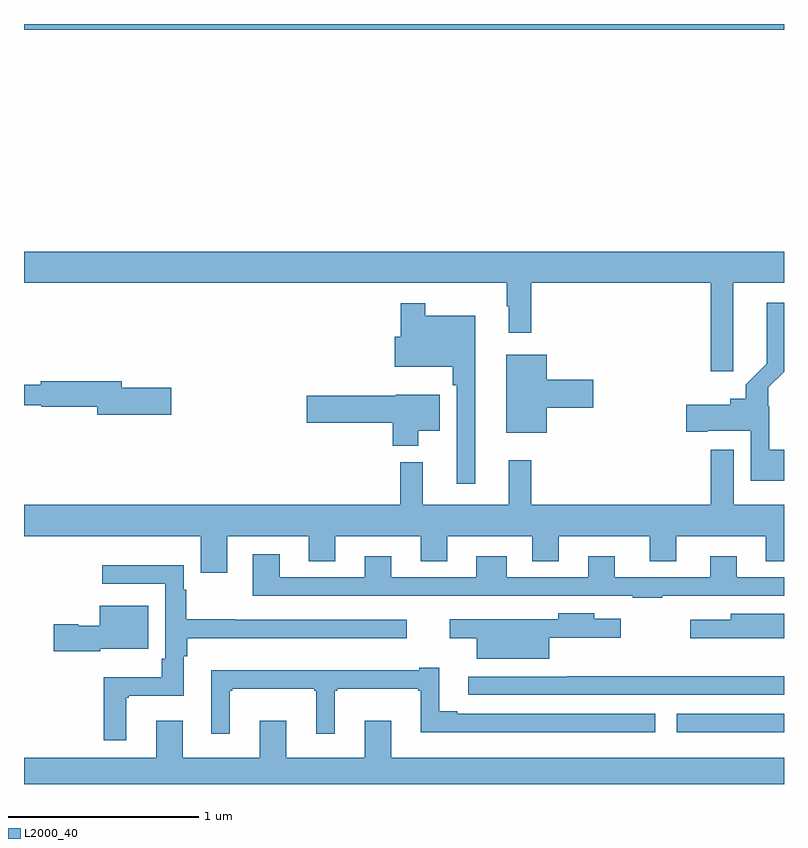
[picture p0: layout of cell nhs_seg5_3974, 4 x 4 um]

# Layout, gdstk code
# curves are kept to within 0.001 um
import gdstk
lib = gdstk.Library(unit=1e-6, precision=1e-09)
def R(c, l, rs):  # rectangles x0, y0, x1, y1
    for r in rs: c.add(gdstk.rectangle(r[:2], r[2:], *l))
def P(c, l, *ps):  # polygons
    for p in ps: c.add(gdstk.Polygon(p, *l))
L2000_40 = (2000, 40)

nhs_seg5_3974 = lib.new_cell('nhs_seg5_3974')
R(nhs_seg5_3974, L2000_40, [(348.435,845.072,349,845.169), (345,848.768,349,848.799)])
P(nhs_seg5_3974, L2000_40, [(348.733,847.436),(349,847.436),(349,847.6),(345,847.6),(345,847.436),(347.541,847.436),(347.541,847.313),(347.552,847.313),(347.552,847.173),(347.669,847.173),(347.669,847.436),(348.615,847.436),(348.615,846.972),(348.733,846.972)],
  [(349,846.559),(348.922,846.559),(348.922,846.788),(348.918,846.788),(348.918,846.888),(349,846.97),(349,847.333),(348.908,847.333),(348.909,847.011),(348.798,846.9),(348.798,846.826),(348.716,846.826),(348.716,846.794),(348.486,846.794),(348.486,846.652),(348.598,846.652),(348.598,846.659),(348.825,846.659),(348.825,846.395),(349,846.395)],
  [(347.374,847.264),(347.113,847.264),(347.113,847.33),(346.984,847.33),(346.984,847.153),(346.95,847.153),(346.95,846.995),(347.257,846.995),(347.257,846.899),(347.277,846.899),(347.277,846.378),(347.374,846.378)],
  [(347.752,846.779),(347.995,846.779),(347.995,846.926),(347.752,846.926),(347.752,847.057),(347.537,847.057),(347.537,846.647),(347.752,846.647)],
  [(345.775,846.884),(345.514,846.884),(345.514,846.92),(345.088,846.92),(345.088,846.901),(345,846.901),(345,846.792),(345.09,846.792),(345.09,846.784),(345.386,846.784),(345.386,846.742),(345.775,846.742)],
  [(347.074,846.659),(347.188,846.659),(347.188,846.847),(346.956,846.847),(346.956,846.842),(346.488,846.842),(346.488,846.7),(346.94,846.7),(346.94,846.578),(347.074,846.578)],
  [(346.069,846.104),(346.499,846.104),(346.499,845.971),(346.639,845.971),(346.639,846.104),(347.087,846.104),(347.087,845.971),(347.227,845.971),(347.227,846.104),(347.675,846.104),(347.675,845.971),(347.815,845.971),(347.815,846.104),(348.293,846.104),(348.293,845.971),(348.433,845.971),(348.433,846.104),(348.905,846.104),(348.905,845.971),(349,845.971),(349,846.268),(348.736,846.268),(348.736,846.559),(348.615,846.559),(348.615,846.268),(347.669,846.268),(347.669,846.502),(347.552,846.502),(347.552,846.268),(347.099,846.268),(347.099,846.493),(346.981,846.493),(346.981,846.268),(345,846.268),(345,846.104),(345.929,846.104),(345.929,845.91),(346.069,845.91)],
  [(348.36,845.79),(349,845.79),(349,845.886),(348.751,845.886),(348.751,845.998),(348.611,845.998),(348.611,845.886),(348.109,845.886),(348.109,845.998),(347.969,845.998),(347.969,845.886),(347.542,845.886),(347.542,845.998),(347.381,845.998),(347.381,845.886),(346.933,845.886),(346.933,845.998),(346.793,845.998),(346.793,845.886),(346.345,845.886),(346.345,846.007),(346.205,846.007),(346.205,845.79),(348.205,845.79),(348.205,845.778),(348.36,845.778)],
  [(345.538,845.253),(345.55,845.253),(345.55,845.264),(345.841,845.264),(345.841,845.471),(345.86,845.471),(345.86,845.567),(347.014,845.567),(347.014,845.664),(346.109,845.664),(346.109,845.667),(345.853,845.667),(345.853,845.822),(345.84,845.822),(345.84,845.95),(345.411,845.95),(345.411,845.853),(345.744,845.853),(345.744,845.458),(345.724,845.458),(345.724,845.362),(345.421,845.362),(345.421,845.028),(345.538,845.028)],
  [(345.402,845.51),(345.655,845.51),(345.655,845.737),(345.398,845.737),(345.398,845.632),(345.285,845.632),(345.285,845.64),(345.156,845.64),(345.156,845.498),(345.402,845.498)],
  [(347.764,845.568),(348.142,845.568),(348.142,845.668),(348.001,845.668),(348.001,845.698),(347.813,845.698),(347.813,845.665),(347.241,845.665),(347.241,845.567),(347.384,845.567),(347.384,845.459),(347.764,845.459)],
  [(349,845.695),(348.72,845.695),(348.72,845.664),(348.507,845.664),(348.507,845.567),(349,845.567)],
  [(346.084,845.289),(346.096,845.289),(346.096,845.3),(346.527,845.3),(346.527,845.289),(346.538,845.289),(346.538,845.064),(346.636,845.064),(346.636,845.289),(346.648,845.289),(346.648,845.3),(347.076,845.3),(347.076,845.289),(347.087,845.289),(347.087,845.072),(348.322,845.072),(348.322,845.169),(347.281,845.169),(347.281,845.182),(347.185,845.182),(347.185,845.41),(347.081,845.41),(347.081,845.398),(345.986,845.398),(345.986,845.064),(346.084,845.064)],
  [(349,845.366),(347.86,845.366),(347.86,845.364),(347.337,845.364),(347.337,845.268),(349,845.268)],
  [(349,844.936),(346.933,844.936),(346.933,845.131),(346.793,845.131),(346.793,844.936),(346.381,844.936),(346.381,845.131),(346.241,845.131),(346.241,844.936),(345.835,844.936),(345.835,845.131),(345.695,845.131),(345.695,844.936),(345,844.936),(345,844.799),(349,844.799)])

lib.write_gds('nhs_seg5_3974.gds')
